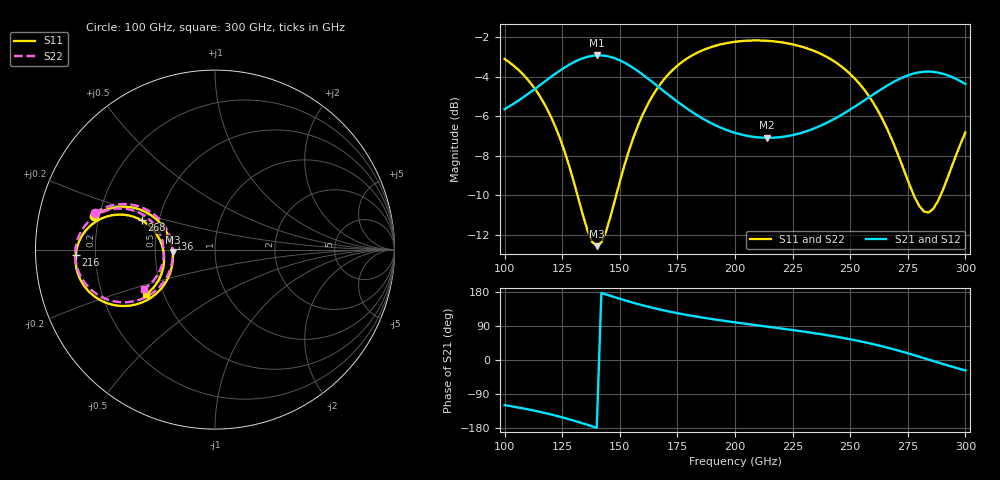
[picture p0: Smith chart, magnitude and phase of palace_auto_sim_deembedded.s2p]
! Created with skrf 1.11.0 (http://scikit-rf.org).
# GHz S DB R 50.0
!freq dBS11 angS11 dBS21 angS21 dBS12 angS12 dBS22 angS22
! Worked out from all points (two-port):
!   101 points, 100 GHz to 300 GHz, reference 50 ohm
!   highest |S21| = -2.92 dB at 140 GHz (marker M1); lowest = -7.1 dB at 214 GHz (marker M2)
!   |S21| within 3 dB of the highest: start of sweep to 183.2 GHz; 246.3 GHz to end of sweep
!   lowest |S11| = -12.6 dB at 140 GHz (marker M3), VSWR 1.62, Z = 31 - j1.03 ohm
!   |S11| at or under -10 dB: 131.6 GHz to 148.4 GHz (16.78 GHz wide, 12 % of centre); 277.7 GHz to 289.2 GHz (11.55 GHz wide, 4.07 % of centre)
!   |S22| runs from -12.6 to -2.2 dB; largest |S21 - S12| = 7.5e-14
!   S11 on the Smith chart (normalised r, x): 100 GHz: 0.18, +0.13; 136 GHz: 0.60, +0.07; 216 GHz: 0.13, -0.02; 268 GHz: 0.40, +0.16; 300 GHz: 0.40, -0.25
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100  -3.10 164.6  -5.64 -119.2  -5.64 -119.2  -3.10 163.1
112  -4.42 156.8  -4.71 -132.5  -4.71 -132.5  -4.43 155.2
120  -5.99 152.5  -4.02 -143.5  -4.02 -143.5  -6.00 150.8
126  -7.77 151.6  -3.53 -153.0  -3.53 -153.0  -7.78 149.8
134  -11.01 160.9  -3.06 -167.4  -3.06 -167.4  -11.02 159.0
136  -11.78 167.0  -2.99 -171.2  -2.99 -171.2  -11.80 165.0
140  -12.57 -176.2  -2.92 -179.0  -2.92 -179.0  -12.59 -178.2
144  -11.83 -159.0  -2.94 173.1  -2.94 173.1  -11.85 -161.0
154  -7.73 -143.1  -3.41 154.3  -3.41 154.3  -7.74 -145.2
160  -5.90 -144.2  -3.89 144.2  -3.89 144.2  -5.90 -146.5
168  -4.30 -149.0  -4.62 132.4  -4.62 132.4  -4.31 -151.3
184  -2.76 -159.8  -5.98 113.8  -5.98 113.8  -2.76 -162.3
200  -2.23 -169.3  -6.84 99.4  -6.84 99.4  -2.23 -172.1
214  -2.18 -176.8  -7.09 88.0  -7.09 88.0  -2.18 -179.8
216  -2.20 -177.9  -7.08 86.4  -7.08 86.4  -2.20 179.1
234  -2.68 172.6  -6.63 71.1  -6.63 71.1  -2.68 169.2
254  -4.35 161.6  -5.36 49.8  -5.36 49.8  -4.36 158.0
268  -7.15 158.2  -4.31 29.7  -4.31 29.7  -7.17 154.3
278  -10.10 169.8  -3.82 12.3  -3.82 12.3  -10.14 165.8
284  -10.87 -172.7  -3.74 1.2  -3.74 1.2  -10.92 -176.7
292  -9.20 -152.7  -3.91 -13.7  -3.91 -13.7  -9.23 -156.7
300  -6.82 -147.0  -4.36 -27.5  -4.36 -27.5  -6.84 -151.1
